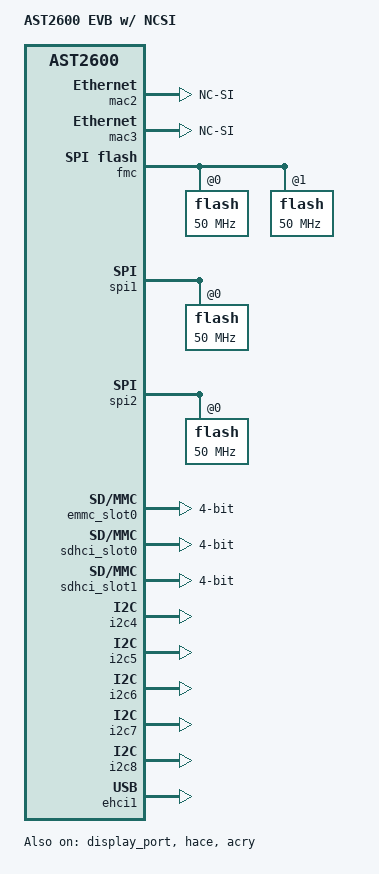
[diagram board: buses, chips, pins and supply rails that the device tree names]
/dts-v1/;

#include "ast2600-u-boot.dtsi"

/ {
	model = "AST2600 EVB w/ NCSI";
};

/delete-node/&mac0;
/delete-node/&mac1;

&mac2 {
	status = "okay";
	phy-mode = "NC-SI";
	use-ncsi;
	pinctrl-names = "default";
	pinctrl-0 = <&pinctrl_rmii3_default>;
	/delete-property/phy-handle;
};

&mac3 {
	status = "okay";
	phy-mode = "NC-SI";
	use-ncsi;
	pinctrl-names = "default";
	pinctrl-0 = <&pinctrl_rmii4_default>;
};

&fmc {
	status = "okay";

	pinctrl-names = "default";
	pinctrl-0 = <&pinctrl_fmcquad_default>;

	flash@0 {
		status = "okay";
		spi-max-frequency = <50000000>;
		spi-tx-bus-width = <4>;
		spi-rx-bus-width = <4>;
	};

	flash@1 {
		status = "okay";
		spi-max-frequency = <50000000>;
		spi-tx-bus-width = <4>;
		spi-rx-bus-width = <4>;
	};

	flash@2 {
		status = "disabled";
		spi-max-frequency = <50000000>;
		spi-tx-bus-width = <4>;
		spi-rx-bus-width = <4>;
	};
};

&spi1 {
	status = "okay";

	pinctrl-names = "default";
	pinctrl-0 = <&pinctrl_spi1_default &pinctrl_spi1abr_default
			&pinctrl_spi1cs1_default &pinctrl_spi1wp_default
			&pinctrl_spi1wp_default &pinctrl_spi1quad_default>;

	flash@0 {
		status = "okay";
		spi-max-frequency = <50000000>;
		spi-tx-bus-width = <4>;
		spi-rx-bus-width = <4>;
	};

	flash@1 {
		status = "disabled";
		spi-max-frequency = <50000000>;
		spi-tx-bus-width = <4>;
		spi-rx-bus-width = <4>;
	};
};

&spi2 {
	status = "okay";

	pinctrl-names = "default";
	pinctrl-0 = <&pinctrl_spi2_default &pinctrl_spi2cs1_default
			&pinctrl_spi2cs2_default &pinctrl_spi2quad_default>;

	flash@0 {
		status = "okay";
		spi-max-frequency = <50000000>;
		spi-tx-bus-width = <4>;
		spi-rx-bus-width = <4>;
	};

	flash@1 {
		status = "disabled";
		spi-max-frequency = <50000000>;
		spi-tx-bus-width = <4>;
		spi-rx-bus-width = <4>;
	};

	flash@2 {
		status = "disabled";
		spi-max-frequency = <50000000>;
		spi-tx-bus-width = <4>;
		spi-rx-bus-width = <4>;
	};
};

&emmc {
	u-boot,dm-pre-reloc;
	timing-phase = <0x700ff>;
};

&emmc_slot0 {
	u-boot,dm-pre-reloc;
	status = "okay";
	bus-width = <4>;
	pinctrl-names = "default";
	pinctrl-0 = <&pinctrl_emmc_default>;
	sdhci-drive-type = <1>;
};

&sdhci {
	timing-phase = <0xc6ffff>;
};

&sdhci_slot0 {
	status = "okay";
	bus-width = <4>;
	pwr-gpios = <&gpio0 ASPEED_GPIO(V, 0) GPIO_ACTIVE_HIGH>;
	pwr-sw-gpios = <&gpio0 ASPEED_GPIO(V, 1) GPIO_ACTIVE_HIGH>;
	pinctrl-names = "default";
	pinctrl-0 = <&pinctrl_sd1_default>;
	sdhci-drive-type = <1>;
};

&sdhci_slot1 {
	status = "okay";
	bus-width = <4>;
	pwr-gpios = <&gpio0 ASPEED_GPIO(V, 2) GPIO_ACTIVE_HIGH>;
	pwr-sw-gpios = <&gpio0 ASPEED_GPIO(V, 3) GPIO_ACTIVE_HIGH>;
	pinctrl-names = "default";
	pinctrl-0 = <&pinctrl_sd2_default>;
	sdhci-drive-type = <1>;
};

&i2c4 {
	status = "okay";

	pinctrl-names = "default";
	pinctrl-0 = <&pinctrl_i2c5_default>;
};

&i2c5 {
	status = "okay";

	pinctrl-names = "default";
	pinctrl-0 = <&pinctrl_i2c6_default>;
};

&i2c6 {
	status = "okay";

	pinctrl-names = "default";
	pinctrl-0 = <&pinctrl_i2c7_default>;
};

&i2c7 {
	status = "okay";

	pinctrl-names = "default";
	pinctrl-0 = <&pinctrl_i2c8_default>;
};

&i2c8 {
	status = "okay";

	pinctrl-names = "default";
	pinctrl-0 = <&pinctrl_i2c9_default>;
};

#if 0
&fsim0 {
	status = "okay";
};

&fsim1 {
	status = "okay";
};
#endif

&ehci1 {
	status = "okay";
};

&display_port {
	status = "okay";
};

&scu {
	mac0-clk-delay = <0x10 0x0a
			  0x10 0x10
			  0x10 0x10>;
	mac1-clk-delay = <0x10 0x0a
			  0x10 0x10
			  0x10 0x10>;
	mac2-clk-delay = <0x08 0x04
			  0x08 0x04
			  0x08 0x04>;
	mac3-clk-delay = <0x08 0x04
			  0x08 0x04
			  0x08 0x04>;
};

&hace {
	u-boot,dm-pre-reloc;
	status = "okay";
};

&acry {
	u-boot,dm-pre-reloc;
	status = "okay";
};
